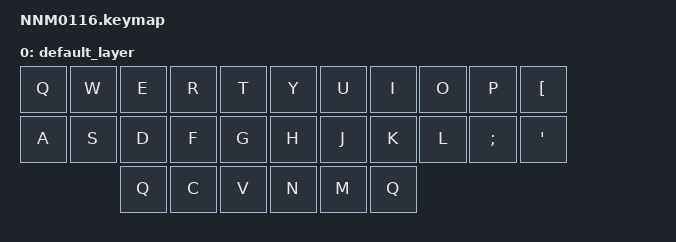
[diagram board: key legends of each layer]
/*
 * Copyright (c) 2022 The ZMK Contributors
 *
 * SPDX-License-Identifier: MIT
 */

#include <behaviors.dtsi>
#include <dt-bindings/zmk/keys.h>
#include <dt-bindings/zmk/bt.h>
#include <dt-bindings/zmk/outputs.h>
#include <dt-bindings/zmk/pointing.h>

#define BASE 0

/ {
    keymap {
        compatible = "zmk,keymap";

        default_layer {
            bindings = <
                &kp Q &kp W &kp E &kp R &kp T           &kp Y &kp U &kp I &kp O &kp P     &kp LBKT 
                &kp A &kp S &kp D &kp F &kp G           &kp H &kp J &kp K &kp L &kp SEMI  &kp SQT
                            &kp Q &kp C &kp V           &kp N &kp M &kp Q
            >;
        };
    };
};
